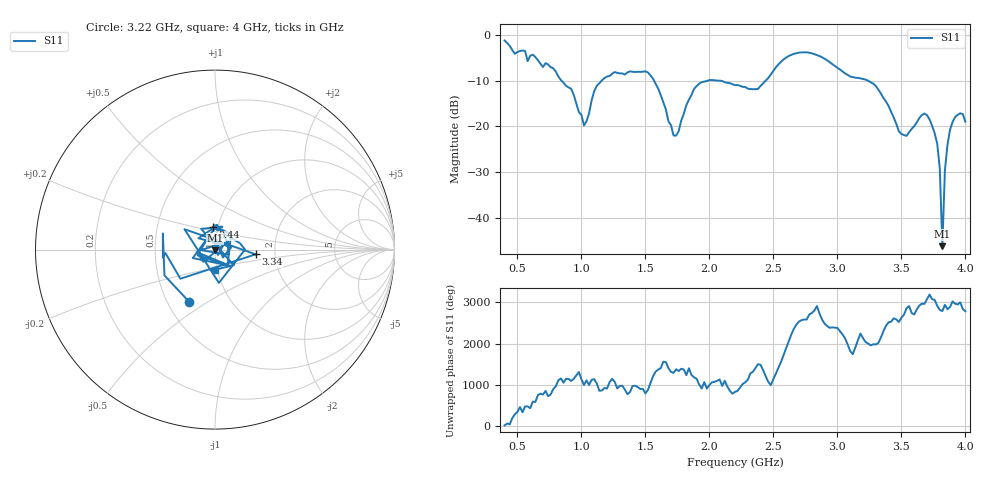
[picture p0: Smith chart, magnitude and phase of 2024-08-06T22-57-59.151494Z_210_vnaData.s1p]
!Created with skrf (http://scikit-rf.org).
# Hz S RI R 50.0
!freq ReS11 ImS11
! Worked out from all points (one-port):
!   181 points, 400 MHz to 4 GHz, reference 50 ohm
!   lowest |S11| = -46.2 dB at 3.82 GHz (marker M1), VSWR 1.01, Z = 50 - j0.49 ohm
!   |S11| at or under -10 dB: 1.567 GHz to 1.987 GHz (419.5 MHz wide, 23.6 % of centre); 2.083 GHz to 2.439 GHz (356.6 MHz wide, 15.8 % of centre); 3.24 GHz to end of sweep (the widest 3 of 4)
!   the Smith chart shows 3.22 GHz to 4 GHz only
!   S11 on the Smith chart (normalised r, x): 3.22 GHz: 0.64, -0.42; 3.34 GHz: 1.58, -0.09; 3.44 GHz: 0.95, +0.24; 4 GHz: 0.97, -0.22
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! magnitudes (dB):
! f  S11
! 400 MHz  -1.2
! 860 MHz  -10.4
! 920 MHz  -11.8
! 1.02 GHz  -19.8
! 1.12 GHz  -11.1
! 1.3 GHz  -8.4
! 1.52 GHz  -8.2
! 1.6 GHz  -11.8
! 1.72 GHz  -22.0
! 1.76 GHz  -21.0
! 1.92 GHz  -10.7
! 2.2 GHz  -11.0
! 2.38 GHz  -11.8
! 2.66 GHz  -4.1
! 3.1 GHz  -9.1
! 3.22 GHz  -9.8
! 3.34 GHz  -12.8
! 3.44 GHz  -18.1
! 3.5 GHz  -21.7
! 3.56 GHz  -21.3
! 3.68 GHz  -17.2
! 3.76 GHz  -21.5
! 3.8 GHz  -29.2
! 3.82 GHz  -46.2
! 3.84 GHz  -29.6
! 3.88 GHz  -20.7
! 3.96 GHz  -17.1
! 4 GHz  -19.0
